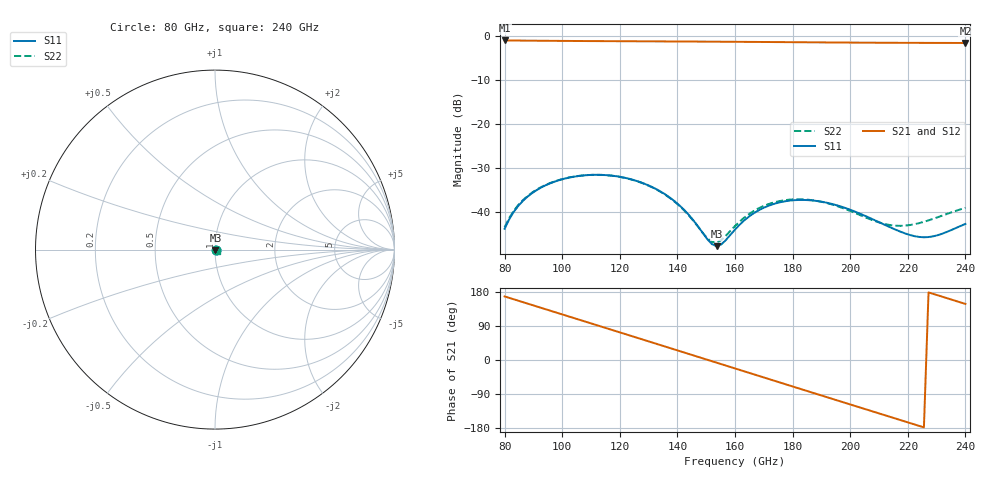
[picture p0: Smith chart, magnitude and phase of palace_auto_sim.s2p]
#  GHZ S DB R 50
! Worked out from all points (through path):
!   101 points, 80 GHz to 240 GHz, reference 50 ohm
!   highest |S21| = -0.95 dB at 80 GHz (marker M1); lowest = -1.5 dB at 240 GHz (marker M2)
!   group delay of S21, straight-line fit = 6.6 ps
!   lowest |S11| = -47.7 dB at 153.6 GHz (marker M3), VSWR 1.01, Z = 50.2 - j0.336 ohm
!   |S11| at or under -10 dB: start of sweep to end of sweep
!   |S22| runs from -46.9 to -31.5 dB; largest |S21 - S12| = 1e-14
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80  -43.78 2.4  -0.95 167.8  -0.95 167.8  -43.40 1.4
84.8  -38.53 3.8  -0.98 156.4  -0.98 156.4  -38.34 2.7
89.6  -35.64 -2.3  -1.01 145.0  -1.01 145.0  -35.52 -3.2
99.2  -32.67 -18.7  -1.05 122.2  -1.05 122.2  -32.62 -19.5
107.2  -31.66 -33.8  -1.09 103.3  -1.09 103.3  -31.65 -34.5
113.6  -31.52 -46.5  -1.11 88.1  -1.11 88.1  -31.53 -47.0
120  -31.96 -59.5  -1.13 72.9  -1.13 72.9  -31.98 -59.7
126.4  -33.01 -72.2  -1.14 57.7  -1.14 57.7  -33.05 -72.2
134.4  -35.40 -86.8  -1.17 38.7  -1.17 38.7  -35.48 -86.2
144  -40.64 -96.2  -1.20 15.8  -1.20 15.8  -40.77 -93.8
150.4  -46.15 -80.4  -1.22 0.6  -1.22 0.6  -45.94 -74.5
153.6  -47.73 -54.5  -1.24 -7.0  -1.24 -7.0  -46.91 -49.3
160  -43.96 -18.5  -1.26 -22.3  -1.26 -22.3  -43.15 -18.7
164.8  -41.03 -16.1  -1.28 -33.7  -1.28 -33.7  -40.46 -16.9
171.2  -38.65 -22.5  -1.31 -48.9  -1.31 -48.9  -38.27 -23.2
179.2  -37.36 -35.0  -1.34 -67.9  -1.34 -67.9  -37.14 -35.2
187.2  -37.36 -48.2  -1.38 -86.9  -1.38 -86.9  -37.31 -47.4
200  -39.45 -64.4  -1.44 -117.3  -1.44 -117.3  -39.73 -59.4
214.4  -43.59 -64.1  -1.48 -151.3  -1.48 -151.3  -42.99 -46.2
222.4  -45.47 -50.8  -1.50 -170.2  -1.50 -170.2  -42.73 -32.0
227.2  -45.66 -39.2  -1.51 178.4  -1.51 178.4  -41.87 -26.4
240  -42.67 -24.0  -1.53 147.9  -1.53 147.9  -39.03 -27.6
